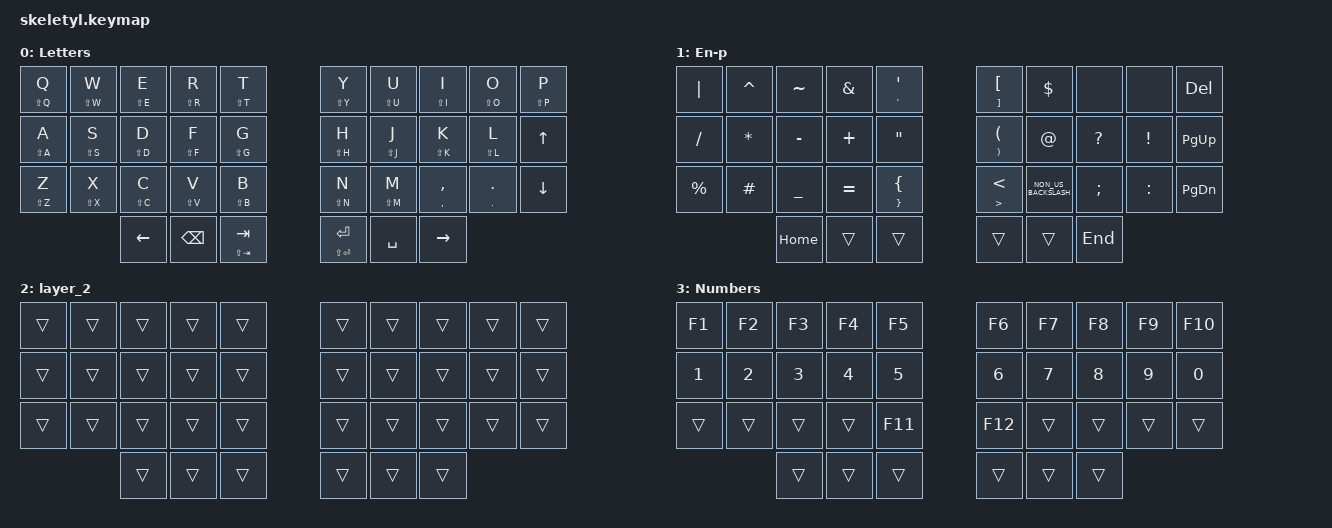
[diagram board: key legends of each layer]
/*
 * Copyright (c) 2020 The ZMK Contributors
 *
 * SPDX-License-Identifier: MIT
 */

#include <behaviors.dtsi>
#include <dt-bindings/zmk/keys.h>
#include <dt-bindings/zmk/keys.h>

&mt {
    tapping-term-ms = <200>;
    flavor = "tap-preferred";
};

/ {
    combos {
        compatible = "zmk,combos";

        left_shift {
            bindings = <&kp LSHFT>;
            key-positions = <3 4>;
            timeout-ms = <50>;
        };

        left-ctrl {
            bindings = <&kp LCTRL>;
            key-positions = <13 14>;
            timeout-ms = <50>;
        };

        left_par {
            bindings = <&kp LALT>;
            key-positions = <23 24>;
            timeout-ms = <50>;
        };

        left-shift-ctrl {
            bindings = <&kp LS(LCTRL)>;
            key-positions = <3 14>;
            timeout-ms = <50>;
        };

        left-shift-alt {
            bindings = <&kp LS(LALT)>;
            key-positions = <24 3>;
            timeout-ms = <50>;
        };

        Left-ctrl-alt {
            bindings = <&kp LC(LALT)>;
            key-positions = <24 13>;
            timeout-ms = <50>;
        };

        left-shift-ctrl-alt {
            bindings = <&kp LS(LC(LALT))>;
            key-positions = <3 14 24>;
        };

        right-shift {
            bindings = <&kp RIGHT_SHIFT>;
            key-positions = <5 6>;
            timeout-ms = <50>;
        };

        right-ctrl {
            bindings = <&kp RCTRL>;
            key-positions = <15 16>;
        };

        right-alt {
            bindings = <&kp RALT>;
            key-positions = <25 26>;
            timeout-ms = <50>;
        };

        right-shift-ctrl {
            bindings = <&kp RS(RCTRL)>;
            key-positions = <6 15>;
            timeout-ms = <50>;
        };

        right-shift-alt {
            bindings = <&kp RS(RALT)>;
            key-positions = <6 25>;
            timeout-ms = <50>;
        };

        right-ctrl-alt {
            bindings = <&kp RC(RALT)>;
            key-positions = <16 25>;
            timeout-ms = <50>;
        };

        right-shift-ctrl-alt {
            bindings = <&kp RS(RC(RALT))>;
            key-positions = <6 15 25>;
        };

        esc {
            bindings = <&kt ESCAPE>;
            key-positions = <1 2>;
        };

        Caps {
            bindings = <&kt CAPSLOCK>;
            key-positions = <11 12>;
        };

        right-gui {
            bindings = <&kp RGUI>;
            key-positions = <27 28>;
        };

        left-gui {
            bindings = <&kp LEFT_GUI>;
            key-positions = <22 21>;
        };

        Left-En-punctuation {
            bindings = <&mo 1>;
            key-positions = <12 13>;
        };

        Right-En-punctuation {
            bindings = <&mo 1>;
            key-positions = <17 16>;
        };

        Right-Zh-punctuation {
            bindings = <&mo 2>;
            key-positions = <6 7>;
        };

        Left-Zh-punctuation {
            bindings = <&mo 2>;
            key-positions = <3 2>;
        };

        Right-Number {
            bindings = <&mo 3>;
            key-positions = <27 26>;
        };

        Left-Number {
            bindings = <&mo 3>;
            key-positions = <22 23>;
        };
    };

    behaviors {
        hm: homerow_mods {
            compatible = "zmk,behavior-hold-tap";
            label = "HOMEROW_MODS";
            #binding-cells = <2>;
            tapping-term-ms = <200>;
            quick_tap_ms = <0>;
            flavor = "tap-preferred";
            bindings = <&kp>, <&kp>;

            quick-tap-ms = <180>;
            global-quick-tap;
        };

        ltq: ltq {
            compatible = "zmk,behavior-hold-tap";
            label = "LTQ";
            bindings = <&mo>, <&kp>;

            #binding-cells = <2>;
            tapping-term-ms = <600>;
            global-quick-tap;
            quick-tap-ms = <400>;
        };
    };

    macros {
        Zh_comma: Zh_comma {
            compatible = "zmk,behavior-macro";
            #binding-cells = <0>;
            bindings = <&kp LC(PERIOD) &kp COMMA &kp LC(PERIOD)>;
            label = "ZH_COMMA";
        };

        Zh_period: Zh_period {
            compatible = "zmk,behavior-macro";
            #binding-cells = <0>;
            bindings = <&kp LC(PERIOD) &kp PERIOD &kp LC(PERIOD)>;
            label = "ZH_PERIOD";
        };
    };

    keymap {
        compatible = "zmk,keymap";

        Letters {
            bindings = <
&mt LS(Q) Q            &mt LS(W) W                 &mt LS(E) E                   &mt LS(R) R  &mt LS(T) T          &mt LS(Y) Y             &mt LS(U) U  &mt LS(I) I      &mt LS(O) O        &mt LS(P) P
&mt LS(A) A            &mt LS(S) S                 &mt LS(D) D                   &mt LS(F) F  &mt LS(G) G          &mt LS(H) H             &mt LS(J) J  &mt LS(K) K      &mt LS(L) L        &kp UP
&mt LS(Z) Z            &mt LS(X) X                 &mt LS(C) C                   &mt LS(V) V  &mt LS(B) B          &mt LS(N) N             &mt LS(M) M  &mt COMMA COMMA  &mt PERIOD PERIOD  &kp DOWN
             &kp LEFT               &kp BACKSPACE               &mt LS(TAB) TAB               &mt LS(ENTER) ENTER  &kp SPACE    &kp RIGHT
            >;
        };

        En-p {
            bindings = <
&kp PIPE               &kp CARET             &kp TILDE               &kp AMPERSAND  &mt GRAVE SQT               &mt RIGHT_BRACKET LEFT_BRACKET                   &kp DOLLAR            &none         &none            &kp DELETE
&kp SLASH              &kp ASTERISK          &kp MINUS               &kp PLUS       &kp DOUBLE_QUOTES           &mt RIGHT_PARENTHESIS LEFT_PARENTHESIS           &kp AT_SIGN           &kp QUESTION  &kp EXCLAMATION  &kp PAGE_UP
&kp PERCENT            &kp HASH              &kp UNDERSCORE          &kp EQUAL      &mt RIGHT_BRACE LEFT_BRACE  &mt GREATER_THAN LESS_THAN                       &kp NON_US_BACKSLASH  &kp SEMI      &kp COLON        &kp PAGE_DOWN
             &kp HOME                &trans                  &trans                 &trans                      &trans                                  &kp END
            >;
        };

        layer_2 {
            bindings = <
&trans          &trans          &trans          &trans  &trans  &trans          &trans  &trans  &trans  &trans
&trans          &trans          &trans          &trans  &trans  &trans          &trans  &trans  &trans  &trans
&trans          &trans          &trans          &trans  &trans  &trans          &trans  &trans  &trans  &trans
        &trans          &trans          &trans          &trans  &trans  &trans
            >;
        };

        Numbers {
            bindings = <
&kp F1          &kp F2          &kp F3          &kp F4  &kp F5   &kp F6           &kp F7  &kp F8  &kp F9  &kp F10
&kp N1          &kp N2          &kp N3          &kp N4  &kp N5   &kp N6           &kp N7  &kp N8  &kp N9  &kp N0
&trans          &trans          &trans          &trans  &kp F11  &kp F12          &trans  &trans  &trans  &trans
        &trans          &trans          &trans          &trans   &trans   &trans
            >;
        };
    };
};
